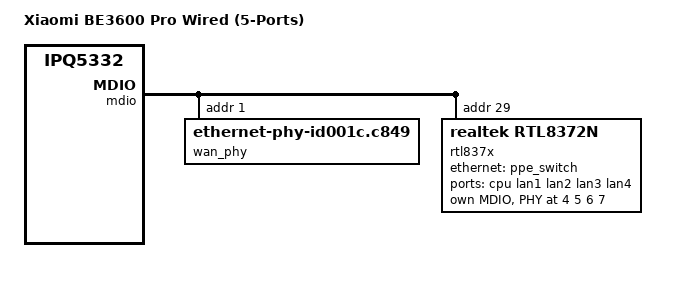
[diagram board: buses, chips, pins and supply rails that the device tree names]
// SPDX-License-Identifier: (GPL-2.0+ OR BSD-3-Clause)

/dts-v1/;

#include "ipq5300-be3600-pro-wired-common.dtsi"

/ {
	model = "Xiaomi BE3600 Pro Wired (5-Ports)";
	compatible = "xiaomi,be3600-pro-wired-p5", "qcom,ipq5332";
};

&mdio {
	status = "okay";

	wan_phy: ethernet-phy@1 {
		compatible = "ethernet-phy-id001c.c849";
		reg = <1>;
		realtek,led-link-select = <0x27 0 0>;
	};

	rtl837x: rtl837x-dsa@29 {
		compatible = "realtek,rtl8372n";
		reg = <29>;
		#address-cells = <1>;
		#size-cells = <0>;
		realtek,preserve-boot-config;
		realtek,rtl8372n-led-init;

		ports {
			#address-cells = <1>;
			#size-cells = <0>;

			port@8 {
				reg = <8>;
				label = "cpu";
				ethernet = <&ppe_switch>;
				phy-mode = "usxgmii";

				fixed-link {
					speed = <10000>;
					full-duplex;
				};
			};

			port@7 {
				reg = <7>;
				label = "lan1";
				phy-mode = "internal";
				phy-handle = <&rtl837x_phy7>;
			};

			port@6 {
				reg = <6>;
				label = "lan2";
				phy-mode = "internal";
				phy-handle = <&rtl837x_phy6>;
			};

			port@5 {
				reg = <5>;
				label = "lan3";
				phy-mode = "internal";
				phy-handle = <&rtl837x_phy5>;
			};

			port@4 {
				reg = <4>;
				label = "lan4";
				phy-mode = "internal";
				phy-handle = <&rtl837x_phy4>;
			};
		};

		mdio {
			#address-cells = <1>;
			#size-cells = <0>;

			rtl837x_phy4: ethernet-phy@4 {
				compatible = "ethernet-phy-ieee802.3-c45";
				reg = <4>;
			};

			rtl837x_phy5: ethernet-phy@5 {
				compatible = "ethernet-phy-ieee802.3-c45";
				reg = <5>;
			};

			rtl837x_phy6: ethernet-phy@6 {
				compatible = "ethernet-phy-ieee802.3-c45";
				reg = <6>;
			};

			rtl837x_phy7: ethernet-phy@7 {
				compatible = "ethernet-phy-ieee802.3-c45";
				reg = <7>;
			};
		};
	};
};

&qcom_ppe {
	ethernet-ports {
		ppe_switch: port@1 {
			fixed-link {
				speed = <10000>;
				full-duplex;
			};
		};

		ppe_wan: port@2 {
			label = "wan";
			phy-handle = <&wan_phy>;
		};
	};
};
